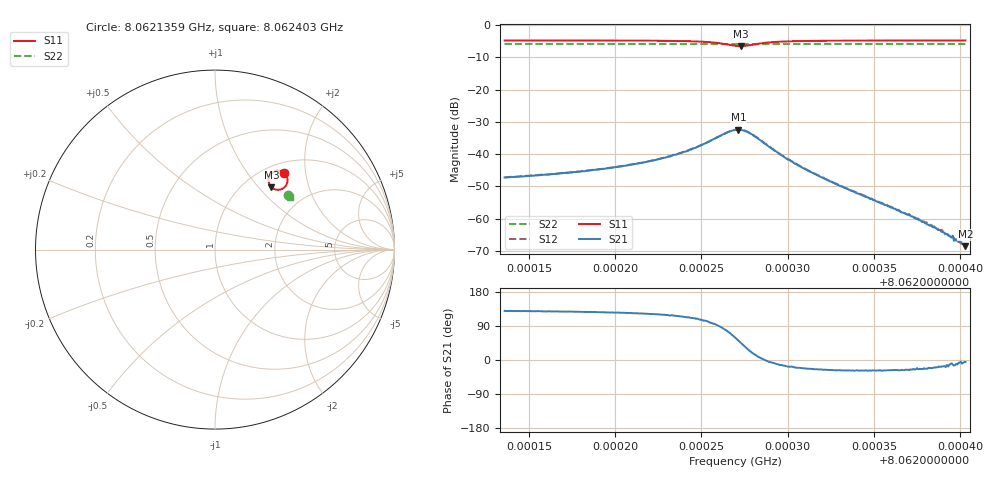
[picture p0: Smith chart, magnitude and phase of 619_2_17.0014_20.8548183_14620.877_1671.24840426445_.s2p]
#  HZ  S  RI  R  50.00
! Rohde & Schwarz Vector Network Analyzer
! Rohde-Schwarz,ZNB20-2Port,1311601062101988,3.16
! Created: UTC 3/20/2024, 11:19:51 PM
! freq[Hz]  re:S11  im:S11  re:S21  im:S21  re:S12  im:S12  re:S22  im:S22
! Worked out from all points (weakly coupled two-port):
!   401 points, 8.0621359 GHz to 8.062403 GHz, reference 50 ohm
!   highest |S21| = -32.43 dB at 8.0622714 GHz (marker M1); lowest = -68.5 dB at 8.062403 GHz (marker M2)
!   lowest |S11| = -6.6 dB at 8.0622728 GHz (marker M3), VSWR 2.76, Z = 65.9 + j58.8 ohm
!   |S11| at or under -10 dB: nowhere
!   |S22| runs from -6.0 to -5.9 dB; largest |S21 - S12| = 0.0014
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8.06213589e9  0.3868 0.4266  -0.00277 0.00335  -0.00259 0.00353  0.407 0.3041
8.06218063e9  0.3923 0.4203  -0.00325 0.00432  -0.00301 0.00456  0.4087 0.3016
8.062204e9  0.3961 0.4147  -0.00368 0.00533  -0.00339 0.00558  0.4096 0.3001
8.06222537e9  0.4007 0.4055  -0.0042 0.00722  -0.0038 0.00752  0.4104 0.2986
8.06223538e9  0.403 0.3979  -0.00437 0.00877  -0.00386 0.00916  0.4106 0.2978
8.06224273e9  0.4042 0.3893  -0.00442 0.0106  -0.00371 0.011  0.4109 0.2971
8.06225608e9  0.3985 0.3618  -0.00217 0.0164  -0.00132 0.0166  0.4107 0.2952
8.06226476e9  0.3693 0.3362  0.00489 0.021  0.00607 0.0209  0.4094 0.2941
8.06226944e9  0.3371 0.3348  0.0119 0.0204  0.013 0.0199  0.4082 0.2943
8.06227144e9  0.3225 0.3412  0.015 0.0186  0.0161 0.0179  0.4077 0.2947
8.06227278e9  0.314 0.348  0.0167 0.0168  0.0177 0.0162  0.4075 0.295
8.06227812e9  0.2979 0.3846  0.0193 0.00848  0.0199 0.00745  0.4074 0.2967
8.06228814e9  0.3187 0.4284  0.0136 -0.000665  0.0139 -0.0015  0.4093 0.2978
8.06230082e9  0.3453 0.4391  0.00781 -0.00243  0.00767 -0.0029  0.411 0.2973
8.06231418e9  0.3598 0.4386  0.00471 -0.00209  0.00463 -0.00236  0.412 0.2965
8.06233421e9  0.371 0.4356  0.00259 -0.00135  0.00252 -0.00155  0.4132 0.2952
8.06235892e9  0.3783 0.4322  0.00137 -0.0007  0.00134 -0.000782  0.4141 0.2937
8.0623716e9  0.3807 0.4307  0.000978 -0.000462  0.000953 -0.000525  0.4147 0.293
8.06238162e9  0.3824 0.4296  0.000752 -0.000284  0.000762 -0.000322  0.415 0.2924
8.06239431e9  0.3843 0.4284  0.000519 -9.95e-05  0.000495 -0.000155  0.4155 0.2918
8.06239765e9  0.3847 0.4282  0.000471 -8.19e-05  0.000473 -0.000113  0.4156 0.2916
8.06240299e9  0.3855 0.4275  0.000373 -3.46e-05  0.000376 -7.73e-05  0.4158 0.2913
